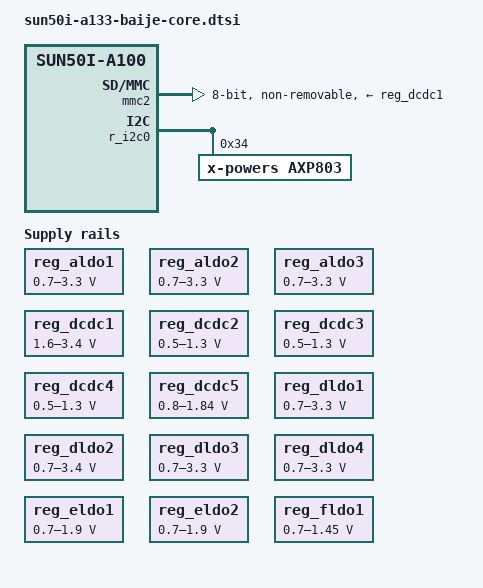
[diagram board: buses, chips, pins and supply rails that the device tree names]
// SPDX-License-Identifier: (GPL-2.0+ OR MIT)
/*
 * Copyright (c) 2025 Arm Ltd.
 */

/dts-v1/;

#include "sun50i-a100.dtsi"
#include "sun50i-a100-cpu-opp.dtsi"

/{
	compatible = "baijie,helper-a133-core",
		     "allwinner,sun50i-a100";

	aliases {
		serial1 = &uart1;	/* BT module */
	};
};

&cpu0 {
	cpu-supply = <&reg_dcdc2>;
};

&pio {
	vcc-pb-supply = <&reg_dcdc1>;
	vcc-pc-supply = <&reg_eldo1>;
	vcc-pd-supply = <&reg_dcdc1>;
	vcc-pe-supply = <&reg_dldo2>;
	vcc-pf-supply = <&reg_dcdc1>;
	vcc-pg-supply = <&reg_dldo1>;
	vcc-ph-supply = <&reg_dcdc1>;
};

&mmc2 {
	vmmc-supply = <&reg_dcdc1>;
	vqmmc-supply = <&reg_eldo1>;
	cap-mmc-hw-reset;
	non-removable;
	bus-width = <8>;
	mmc-ddr-1_8v;
	mmc-hs200-1_8v;
	status = "okay";
};

&r_i2c0 {
	status = "okay";

	axp803: pmic@34 {
		compatible = "x-powers,axp803";
		reg = <0x34>;
		interrupt-parent = <&r_intc>;
		interrupts = <0 IRQ_TYPE_LEVEL_LOW>;
	};
};

#include "axp803.dtsi"

&ac_power_supply {
	status = "okay";
};

&reg_aldo1 {
	regulator-always-on;
	regulator-min-microvolt = <700000>;
	regulator-max-microvolt = <3300000>;
};

&reg_aldo2 {
	regulator-always-on;
	regulator-min-microvolt = <700000>;
	regulator-max-microvolt = <3300000>;
};

&reg_aldo3 {
	regulator-always-on;
	regulator-min-microvolt = <700000>;
	regulator-max-microvolt = <3300000>;
	regulator-enable-ramp-delay = <1000>;
};

&reg_dcdc1 {
	regulator-always-on;
	regulator-min-microvolt = <1600000>;
	regulator-max-microvolt = <3400000>;
	regulator-name = "vcc-3v3";
};

&reg_dcdc2 {
	regulator-always-on;
	regulator-min-microvolt = <500000>;
	regulator-max-microvolt = <1300000>;
	regulator-name = "vdd-cpu";
};

&reg_dcdc3 {
	regulator-always-on;
	regulator-min-microvolt = <500000>;
	regulator-max-microvolt = <1300000>;
};

&reg_dcdc4 {
	regulator-always-on;
	regulator-min-microvolt = <500000>;
	regulator-max-microvolt = <1300000>;
	regulator-name = "vdd-sys";
};

&reg_dcdc5 {
	regulator-always-on;
	regulator-min-microvolt = <800000>;
	regulator-max-microvolt = <1840000>;
	regulator-name = "vcc-dram";
};

/* DCDC6 unused */

&reg_dldo1 {
	regulator-min-microvolt = <700000>;
	regulator-max-microvolt = <3300000>;
	regulator-enable-ramp-delay = <1000>;
};

&reg_dldo2 {
	regulator-min-microvolt = <700000>;
	regulator-max-microvolt = <3400000>;
	regulator-enable-ramp-delay = <1000>;
};

&reg_dldo3 {
	regulator-min-microvolt = <700000>;
	regulator-max-microvolt = <3300000>;
	regulator-enable-ramp-delay = <1000>;
	regulator-name = "avdd-csi";
};

&reg_dldo4 {
	regulator-min-microvolt = <700000>;
	regulator-max-microvolt = <3300000>;
	regulator-enable-ramp-delay = <1000>;
};

&reg_eldo1 {
	regulator-min-microvolt = <700000>;
	regulator-max-microvolt = <1900000>;
	regulator-enable-ramp-delay = <1000>;
};

&reg_eldo2 {
	regulator-min-microvolt = <700000>;
	regulator-max-microvolt = <1900000>;
	regulator-enable-ramp-delay = <1000>;
	regulator-name = "dvdd-csi";
};

/* ELDO3 unused */

&reg_fldo1 {
	regulator-always-on;
	regulator-min-microvolt = <700000>;
	regulator-max-microvolt = <1450000>;
	regulator-name = "vdd-cpus-usb";
};
